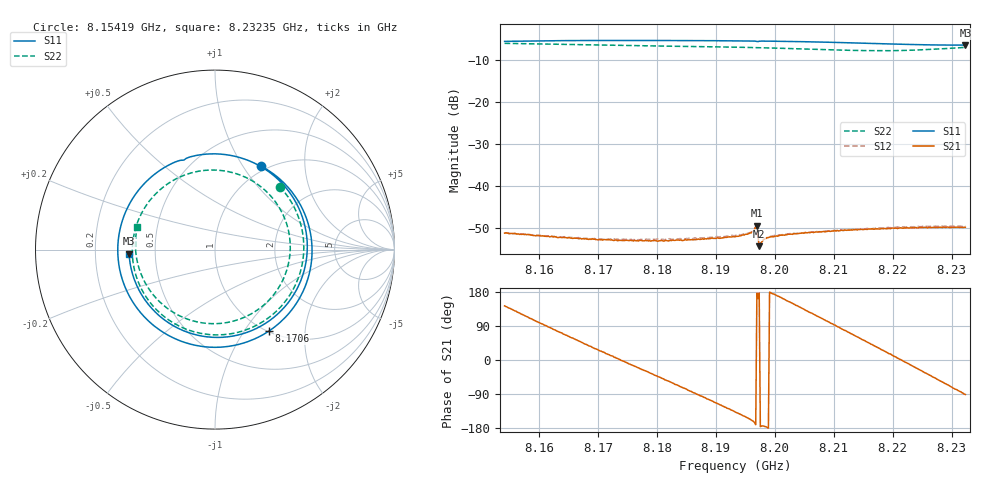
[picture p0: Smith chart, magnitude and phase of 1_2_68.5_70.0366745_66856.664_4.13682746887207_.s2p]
#  HZ  S  RI  R  50.00
! Rohde & Schwarz Vector Network Analyzer
! Rohde-Schwarz,ZNB20-2Port,1311601062101988,3.16
! Created: UTC 3/20/2024, 5:03:46 PM
! freq[Hz]  re:S11  im:S11  re:S21  im:S21  re:S12  im:S12  re:S22  im:S22
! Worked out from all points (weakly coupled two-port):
!   401 points, 8.15419 GHz to 8.23235 GHz, reference 50 ohm
!   highest |S21| = -49.35 dB at 8.19698 GHz (marker M1); lowest = -54.3 dB at 8.19737 GHz (marker M2)
!   lowest |S11| = -6.4 dB at 8.23235 GHz (marker M3), VSWR 2.84, Z = 17.6 - j1.08 ohm
!   |S11| at or under -10 dB: nowhere
!   |S22| runs from -7.7 to -6.0 dB; largest |S21 - S12| = 0.00024
!   S11 on the Smith chart (normalised r, x): 8.15419 GHz: 0.94, +1.21; 8.1706 GHz: 1.01, -1.31; 8.23235 GHz: 0.35, -0.02
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8.15419e9  0.2584 0.464  -0.0022 0.00167  -0.0022 0.0017  0.3605 0.351
8.161028e9  0.5281 0.1097  -6.91e-05 0.00254  -8.42e-05 0.00257  0.4924 -0.0355
8.167281e9  0.457 -0.294  0.00162 0.0017  0.00166 0.00176  0.3256 -0.3579
8.170603e9  0.3009 -0.4535  0.00213 0.000911  0.00217 0.000911  0.1581 -0.4521
8.175487e9  -0.0143 -0.5443  0.00223 -0.000446  0.00228 -0.000469  -0.1182 -0.4574
8.180372e9  -0.3267 -0.4345  0.00159 -0.00158  0.00165 -0.00166  -0.3479 -0.3113
8.183889e9  -0.4822 -0.2494  0.000795 -0.00213  0.000792 -0.00225  -0.4415 -0.1401
8.187016e9  -0.5405 -0.041  -5.87e-05 -0.00235  -9.68e-05 -0.0024  -0.4588 0.0322
8.193268e9  -0.3999 0.3614  -0.00182 -0.00171  -0.00193 -0.00173  -0.3047 0.3348
8.19659e9  -0.2069 0.4936  -0.00297 -0.00079  -0.00304 -0.00067  -0.1427 0.4243
8.196981e9  -0.179 0.4982  -0.0034 0.000211  -0.00342 0.000361  -0.1214 0.4301
8.197372e9  -0.1619 0.5075  -0.00193 0.000112  -0.00196 0.000212  -0.1 0.4349
8.197762e9  -0.1342 0.5177  -0.00214 -0.000214  -0.00218 -0.000183  -0.0783 0.4388
8.20167e9  0.1401 0.5122  -0.00246 0.000889  -0.00249 0.00102  0.1406 0.4153
8.20636e9  0.4092 0.3268  -0.00155 0.00238  -0.00146 0.00244  0.3498 0.2472
8.209486e9  0.5021 0.1262  -0.000355 0.00288  -0.000296 0.00294  0.4151 0.074
8.212612e9  0.5017 -0.0958  0.000896 0.00287  0.001 0.00289  0.3995 -0.115
8.215739e9  0.4064 -0.2976  0.0021 0.00223  0.00219 0.00225  0.2998 -0.2825
8.219451e9  0.193 -0.4556  0.00302 0.000881  0.0031 0.000806  0.0939 -0.4005
8.225117e9  -0.2053 -0.4384  0.00278 -0.00162  0.00282 -0.0018  -0.268 -0.3254
8.22883e9  -0.4026 -0.2615  0.00155 -0.00285  0.00147 -0.00303  -0.4179 -0.1204
8.232347e9  -0.4784 -0.0236  -5.74e-05 -0.00325  -0.000249 -0.00336  -0.4333 0.1233
